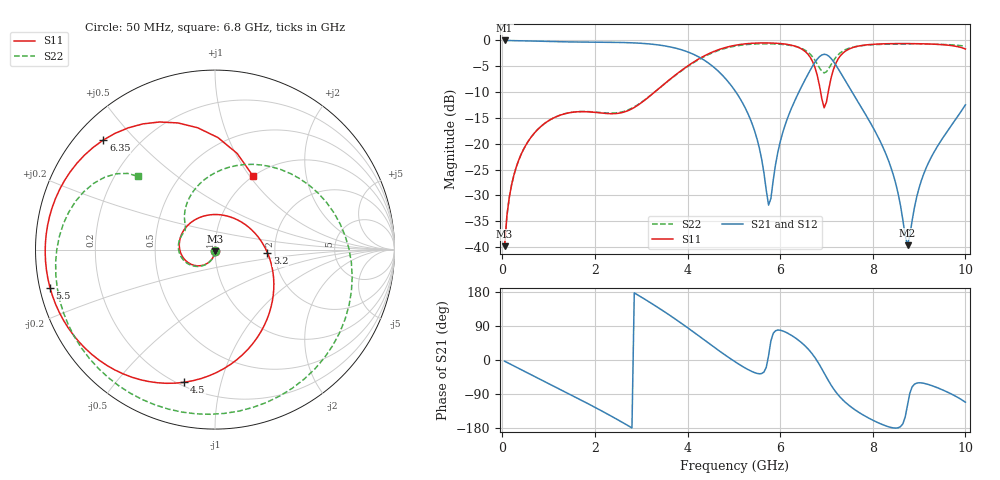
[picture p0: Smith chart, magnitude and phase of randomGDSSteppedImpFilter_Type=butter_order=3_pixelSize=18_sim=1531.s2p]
! freq	dB(S11)	phase(S11)	dB(S12)	phase(S12)
!  dB(S21)	phase(S21)	dB(S22)	phase(S22)
!S-par simulation data
#  GHz  S  DB  R 50
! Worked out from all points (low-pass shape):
!   200 points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, 50 MHz to 10 GHz, reference 50 ohm
!   highest |S21| = -0.01 dB at 50 MHz (marker M1); lowest = -39.6 dB at 8.75 GHz (marker M2)
!   |S21| within 3 dB of the highest: start of sweep to 4.202 GHz; 6.87 GHz to 7.044 GHz (174.1 MHz wide, 2.5 % of centre)
!   lowest |S11| = -39.8 dB at 50 MHz (marker M3), VSWR 1.02, Z = 50 - j1.02 ohm
!   |S11| at or under -10 dB: start of sweep to 3.289 GHz; 6.874 GHz to 7.038 GHz (163.8 MHz wide, 2.36 % of centre)
!   |S22| runs from -39.8 to -0.6 dB; largest |S21 - S12| = 0
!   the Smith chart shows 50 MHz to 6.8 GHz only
!   S11 on the Smith chart (normalised r, x): 50 MHz: 1.00, -0.02; 3.2 GHz: 1.82, -0.07; 4.5 GHz: 0.22, -0.77; 5.5 GHz: 0.03, -0.11; 6.35 GHz: 0.08, +0.41; 6.8 GHz: 1.00, +1.04
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0.05  -39.80 -91.6  -0.01 -3.2  -0.01 -3.2  -39.80 -91.5
0.2  -27.97 -102.5  -0.03 -12.6  -0.03 -12.6  -27.97 -102.1
0.5  -20.39 -122.2  -0.08 -31.3  -0.08 -31.3  -20.40 -121.0
1.75  -13.77 151.3  -0.32 -108.8  -0.32 -108.8  -13.74 169.8
2.55  -14.03 70.4  -0.39 -161.6  -0.39 -161.6  -13.90 144.7
3.2  -10.67 -3.4  -0.70 151.1  -0.70 151.1  -10.63 123.0
3.4  -9.16 -21.8  -0.91 135.5  -0.91 135.5  -9.17 110.1
4  -4.96 -68.1  -2.21 85.3  -2.21 85.3  -5.06 55.8
4.5  -2.40 -103.1  -4.70 40.5  -4.70 40.5  -2.54 0.3
5.05  -0.91 -139.5  -10.06 -6.6  -10.06 -6.6  -1.07 -60.8
5.5  -0.51 -167.1  -19.04 -35.3  -19.04 -35.3  -0.67 -106.3
5.75  -0.49 177.9  -31.86 11.5  -31.86 11.5  -0.64 -129.8
6.35  -1.19 135.5  -11.00 56.4  -11.00 56.4  -1.21 175.2
6.7  -4.09 88.5  -4.96 15.0  -4.96 15.0  -3.18 142.5
6.8  -6.71 62.7  -3.63 -2.7  -3.63 -2.7  -4.54 136.5
6.95  -13.03 -26.5  -2.68 -34.4  -2.68 -34.4  -6.28 142.1
7.15  -5.64 -137.8  -4.06 -75.5  -4.06 -75.5  -3.92 146.1
7.55  -1.44 163.3  -9.95 -125.8  -9.95 -125.8  -1.34 111.3
8.35  -0.63 113.5  -23.50 -176.6  -23.50 -176.6  -0.72 48.0
8.75  -0.61 94.1  -39.60 -118.6  -39.60 -118.6  -0.68 20.4
9.15  -0.67 75.1  -24.72 -62.9  -24.72 -62.9  -0.70 -5.1
10  -1.66 24.9  -12.46 -111.3  -12.46 -111.3  -1.13 -55.4
